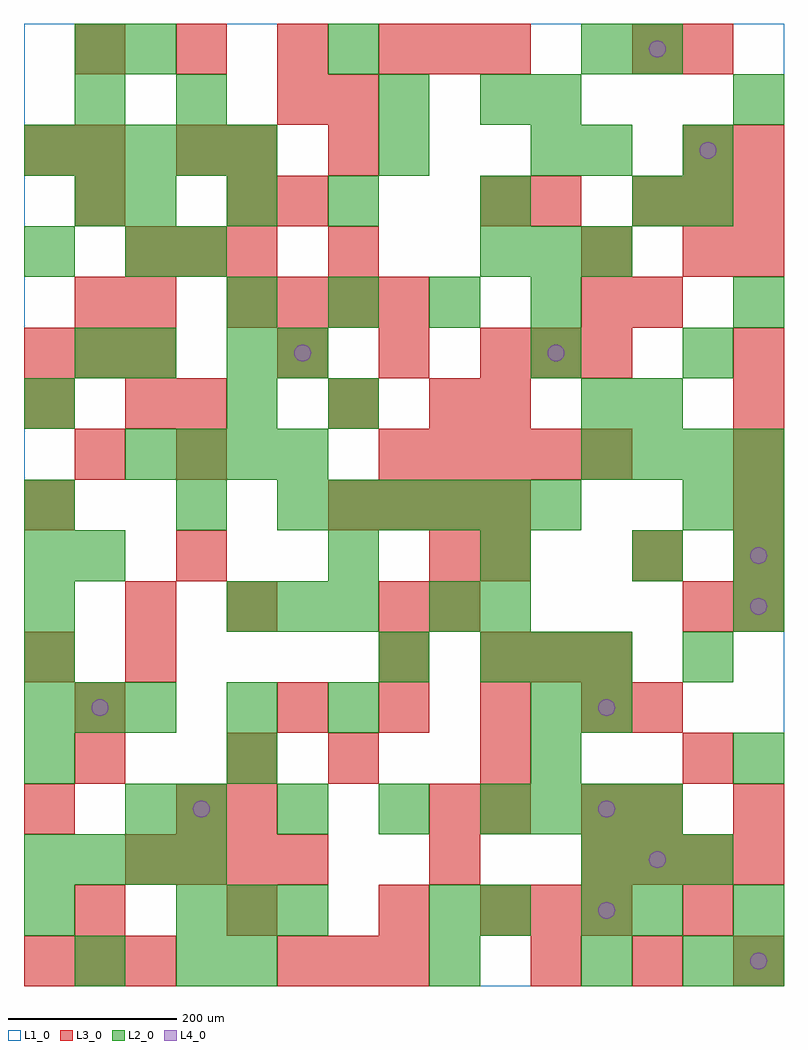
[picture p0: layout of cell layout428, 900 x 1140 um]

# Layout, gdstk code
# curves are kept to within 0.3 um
import gdstk
lib = gdstk.Library(unit=1e-6, precision=1e-09)
def R(c, l, rs):  # rectangles x0, y0, x1, y1
    for r in rs: c.add(gdstk.rectangle(r[:2], r[2:], *l))
def A(c, l, x, y, w, h, nx, ny, dx, dy):  # array of equal rectangles
    R(c, l, [(x+i*dx, y+j*dy, x+i*dx+w, y+j*dy+h) for i in range(nx) for j in range(ny)])
def P(c, l, *ps):  # polygons
    for p in ps: c.add(gdstk.Polygon(p, *l))
L1_0 = (1, 0)
L2_0 = (2, 0)
L3_0 = (3, 0)
L4_0 = (4, 0)

layout428 = lib.new_cell('layout428')
R(layout428, L1_0, [(0,0,900,1140)])
A(layout428, L2_0, 180, 60, 60, 60, 3, 1, 60, 0)
A(layout428, L2_0, 840, 60, 60, 60, 1, 3, 0, 180)
A(layout428, L2_0, 0, 120, 60, 60, 4, 1, 60, 0)
A(layout428, L2_0, 660, 120, 60, 60, 3, 1, 60, 0)
A(layout428, L2_0, 180, 180, 60, 60, 4, 1, 120, 0)
A(layout428, L2_0, 600, 180, 60, 60, 3, 1, 60, 0)
A(layout428, L2_0, 0, 300, 60, 60, 3, 1, 60, 0)
A(layout428, L2_0, 0, 360, 60, 60, 1, 4, 0, 60)
A(layout428, L2_0, 540, 360, 60, 60, 3, 2, 60, 480)
A(layout428, L2_0, 780, 360, 60, 60, 1, 4, 0, 180)
A(layout428, L2_0, 240, 420, 60, 60, 3, 1, 60, 0)
A(layout428, L2_0, 360, 480, 60, 60, 3, 1, 180, 0)
A(layout428, L2_0, 300, 540, 60, 60, 6, 1, 60, 0)
A(layout428, L2_0, 840, 540, 60, 60, 1, 3, 0, 240)
A(layout428, L2_0, 120, 600, 60, 60, 4, 1, 60, 0)
A(layout428, L2_0, 660, 600, 60, 60, 4, 1, 60, 0)
A(layout428, L2_0, 240, 780, 60, 60, 4, 1, 120, 0)
A(layout428, L2_0, 120, 900, 60, 60, 3, 1, 120, 0)
A(layout428, L2_0, 0, 960, 60, 60, 5, 1, 60, 0)
R(layout428, L2_0, [(60,0,120,60), (180,0,240,60), (240,0,300,60), (480,0,540,60), (660,0,720,60), (780,0,840,60), (840,0,900,60), (0,60,60,120), (480,60,540,120), (540,60,600,120), (660,60,720,120), (720,60,780,120), (120,180,180,240), (0,240,60,300), (240,240,300,300), (600,240,660,300), (240,300,300,360), (360,300,420,360), (600,300,660,360), (660,300,720,360), (420,360,480,420), (480,420,540,480), (540,420,600,480), (60,480,120,540), (840,480,900,540), (180,540,240,600), (0,660,60,720), (240,660,300,720), (360,660,420,720), (660,660,720,720), (720,660,780,720), (60,720,120,780), (120,720,180,780), (240,720,300,780), (300,720,360,780), (600,720,660,780), (0,840,60,900), (120,840,180,900), (180,840,240,900), (60,900,120,960), (540,900,600,960), (720,900,780,960), (420,960,480,1020), (600,960,660,1020), (660,960,720,1020), (780,960,840,1020), (60,1020,120,1080), (180,1020,240,1080), (420,1020,480,1080), (540,1020,600,1080), (600,1020,660,1080), (60,1080,120,1140), (120,1080,180,1140), (360,1080,420,1140), (660,1080,720,1140), (720,1080,780,1140)])
A(layout428, L3_0, 0, 0, 60, 60, 3, 2, 60, 720)
A(layout428, L3_0, 300, 0, 60, 60, 3, 1, 60, 0)
A(layout428, L3_0, 600, 0, 60, 60, 3, 1, 120, 0)
A(layout428, L3_0, 60, 60, 60, 60, 3, 1, 180, 0)
A(layout428, L3_0, 540, 60, 60, 60, 3, 2, 60, 300)
A(layout428, L3_0, 780, 60, 60, 60, 1, 3, 0, 180)
A(layout428, L3_0, 120, 120, 60, 60, 4, 1, 60, 0)
A(layout428, L3_0, 660, 120, 60, 60, 4, 1, 60, 0)
A(layout428, L3_0, 0, 180, 60, 60, 1, 3, 0, 180)
A(layout428, L3_0, 300, 300, 60, 60, 4, 1, 120, 0)
A(layout428, L3_0, 840, 420, 60, 60, 1, 6, 0, 60)
A(layout428, L3_0, 720, 480, 60, 60, 1, 3, 0, 300)
A(layout428, L3_0, 360, 540, 60, 60, 4, 1, 60, 0)
A(layout428, L3_0, 420, 600, 60, 60, 5, 1, 60, 0)
A(layout428, L3_0, 300, 720, 60, 60, 3, 1, 120, 0)
A(layout428, L3_0, 660, 720, 60, 60, 1, 3, 0, 60)
A(layout428, L3_0, 240, 780, 60, 60, 4, 1, 60, 0)
A(layout428, L3_0, 120, 840, 60, 60, 3, 1, 60, 0)
A(layout428, L3_0, 780, 840, 60, 60, 1, 3, 0, 120)
A(layout428, L3_0, 720, 900, 60, 60, 3, 1, 60, 0)
A(layout428, L3_0, 60, 1080, 60, 60, 4, 1, 120, 0)
R(layout428, L3_0, [(480,120,540,180), (180,180,240,240), (240,180,300,240), (480,180,540,240), (540,180,600,240), (660,180,720,240), (720,180,780,240), (840,180,900,240), (60,240,120,300), (240,240,300,300), (360,240,420,300), (540,240,600,300), (60,300,120,360), (720,300,780,360), (120,360,180,420), (420,360,480,420), (120,420,180,480), (240,420,300,480), (420,420,480,480), (480,420,540,480), (180,480,240,540), (480,480,540,540), (540,480,600,540), (60,600,120,660), (180,600,240,660), (0,660,60,720), (120,660,180,720), (180,660,240,720), (360,660,420,720), (480,660,540,720), (540,660,600,720), (600,720,660,780), (60,780,120,840), (120,780,180,840), (360,840,420,900), (840,840,900,900), (60,900,120,960), (240,900,300,960), (300,900,360,960), (540,900,600,960), (600,900,660,960), (0,960,60,1020), (60,960,120,1020), (180,960,240,1020), (240,960,300,1020), (360,960,420,1020), (840,960,900,1020), (300,1020,360,1080), (360,1020,420,1080), (480,1080,540,1140), (540,1080,600,1140)])
P(layout428, L4_0, [(100,330),(99.239,333.827),(97.071,337.071),(93.827,339.239),(90,340),(86.173,339.239),(82.929,337.071),(80.761,333.827),(80,330),(80.761,326.173),(82.929,322.929),(86.173,320.761),(90,320),(93.827,320.761),(97.071,322.929),(99.239,326.173)],
  [(220,210),(219.239,213.827),(217.071,217.071),(213.827,219.239),(210,220),(206.173,219.239),(202.929,217.071),(200.761,213.827),(200,210),(200.761,206.173),(202.929,202.929),(206.173,200.761),(210,200),(213.827,200.761),(217.071,202.929),(219.239,206.173)],
  [(340,750),(339.239,753.827),(337.071,757.071),(333.827,759.239),(330,760),(326.173,759.239),(322.929,757.071),(320.761,753.827),(320,750),(320.761,746.173),(322.929,742.929),(326.173,740.761),(330,740),(333.827,740.761),(337.071,742.929),(339.239,746.173)],
  [(640,750),(639.239,753.827),(637.071,757.071),(633.827,759.239),(630,760),(626.173,759.239),(622.929,757.071),(620.761,753.827),(620,750),(620.761,746.173),(622.929,742.929),(626.173,740.761),(630,740),(633.827,740.761),(637.071,742.929),(639.239,746.173)],
  [(700,90),(699.239,93.827),(697.071,97.071),(693.827,99.239),(690,100),(686.173,99.239),(682.929,97.071),(680.761,93.827),(680,90),(680.761,86.173),(682.929,82.929),(686.173,80.761),(690,80),(693.827,80.761),(697.071,82.929),(699.239,86.173)],
  [(700,210),(699.239,213.827),(697.071,217.071),(693.827,219.239),(690,220),(686.173,219.239),(682.929,217.071),(680.761,213.827),(680,210),(680.761,206.173),(682.929,202.929),(686.173,200.761),(690,200),(693.827,200.761),(697.071,202.929),(699.239,206.173)],
  [(700,330),(699.239,333.827),(697.071,337.071),(693.827,339.239),(690,340),(686.173,339.239),(682.929,337.071),(680.761,333.827),(680,330),(680.761,326.173),(682.929,322.929),(686.173,320.761),(690,320),(693.827,320.761),(697.071,322.929),(699.239,326.173)],
  [(760,150),(759.239,153.827),(757.071,157.071),(753.827,159.239),(750,160),(746.173,159.239),(742.929,157.071),(740.761,153.827),(740,150),(740.761,146.173),(742.929,142.929),(746.173,140.761),(750,140),(753.827,140.761),(757.071,142.929),(759.239,146.173)],
  [(760,1110),(759.239,1113.827),(757.071,1117.071),(753.827,1119.239),(750,1120),(746.173,1119.239),(742.929,1117.071),(740.761,1113.827),(740,1110),(740.761,1106.173),(742.929,1102.929),(746.173,1100.761),(750,1100),(753.827,1100.761),(757.071,1102.929),(759.239,1106.173)],
  [(820,990),(819.239,993.827),(817.071,997.071),(813.827,999.239),(810,1000),(806.173,999.239),(802.929,997.071),(800.761,993.827),(800,990),(800.761,986.173),(802.929,982.929),(806.173,980.761),(810,980),(813.827,980.761),(817.071,982.929),(819.239,986.173)],
  [(880,30),(879.239,33.827),(877.071,37.071),(873.827,39.239),(870,40),(866.173,39.239),(862.929,37.071),(860.761,33.827),(860,30),(860.761,26.173),(862.929,22.929),(866.173,20.761),(870,20),(873.827,20.761),(877.071,22.929),(879.239,26.173)],
  [(880,450),(879.239,453.827),(877.071,457.071),(873.827,459.239),(870,460),(866.173,459.239),(862.929,457.071),(860.761,453.827),(860,450),(860.761,446.173),(862.929,442.929),(866.173,440.761),(870,440),(873.827,440.761),(877.071,442.929),(879.239,446.173)],
  [(880,510),(879.239,513.827),(877.071,517.071),(873.827,519.239),(870,520),(866.173,519.239),(862.929,517.071),(860.761,513.827),(860,510),(860.761,506.173),(862.929,502.929),(866.173,500.761),(870,500),(873.827,500.761),(877.071,502.929),(879.239,506.173)])

lib.write_gds('layout428.gds')
